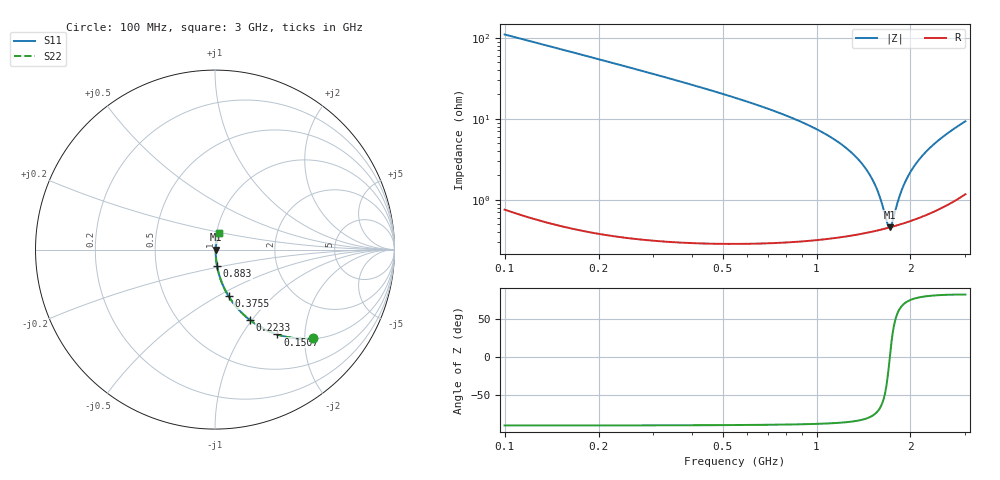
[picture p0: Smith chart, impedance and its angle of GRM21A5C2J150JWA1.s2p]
!Murata Part Number: GRM21A5C2J150JWA1
!These Parameters are Measured in Series Mode Connection
!Data Generated on Mar 30, 2021
!  o--ll--o
!Port1  Port2
!  o------o
!Operation Temp=25[degC], DC Bias Voltage=0[V]
!Freq. Start=100[MHz] Stop=3[GHz] 401[Steps]
# Hz S RI R 50
!Freq.(Hz) S11(Real) S11(Imag) S21(Real) S21(Imag) S12(Real) S12(Imag) S22(Real) S22(Imag)
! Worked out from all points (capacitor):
!   401 points, 100 MHz to 3 GHz, reference 50 ohm
!   read as one part in series: C = 14.4 pF near 114.5 MHz
!   lowest |Z| = 456 mohm at 1.717 GHz (marker M1)
!   series resonance near 1.717 GHz, so ESL is about 600 pH
!   S11 on the Smith chart (normalised r, x): 100 MHz: 1.02, -2.20; 150.8 MHz: 1.01, -1.46; 223.2 MHz: 1.01, -0.97; 375.5 MHz: 1.01, -0.56; 883 MHz: 1.01, -0.19; 3 GHz: 1.02, +0.19
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1e8  0.5478 -0.4943  0.4522 0.4943  0.4522 0.4943  0.5478 -0.4943
1.5075e8  0.3473 -0.4728  0.6527 0.4728  0.6527 0.4728  0.3473 -0.4728
2.2325e8  0.1936 -0.3915  0.8064 0.3915  0.8064 0.3915  0.1936 -0.3915
2.885e8  0.1242 -0.3256  0.8758 0.3256  0.8758 0.3256  0.1242 -0.3256
3.755e8  0.0756 -0.2591  0.9244 0.2591  0.9244 0.2591  0.0756 -0.2591
5.8575e8  0.03 -0.1624  0.97 0.1624  0.97 0.1624  0.03 -0.1624
8.83e8  0.0116 -0.0921  0.9884 0.0921  0.9884 0.0921  0.0116 -0.0921
1.0715e9  0.00735 -0.0637  0.9927 0.0637  0.9927 0.0637  0.00735 -0.0637
1.3615e9  0.00469 -0.031  0.9953 0.031  0.9953 0.031  0.00469 -0.031
1.463e9  0.00439 -0.0214  0.9956 0.0214  0.9956 0.0214  0.00439 -0.0214
1.55e9  0.00431 -0.0137  0.9957 0.0137  0.9957 0.0137  0.00431 -0.0137
1.608e9  0.00434 -0.00883  0.9957 0.00883  0.9957 0.00883  0.00434 -0.00883
1.68775e9  0.00447 -0.00232  0.9955 0.00232  0.9955 0.00232  0.00447 -0.00232
1.71675e9  0.00454 -2.19e-05  0.9955 2.19e-05  0.9955 2.19e-05  0.00454 -2.19e-05
1.74575e9  0.00463 0.00225  0.9954 -0.00225  0.9954 -0.00225  0.00463 0.00225
1.8255e9  0.00493 0.00836  0.9951 -0.00836  0.9951 -0.00836  0.00493 0.00836
1.8835e9  0.0052 0.0127  0.9948 -0.0127  0.9948 -0.0127  0.0052 0.0127
1.956e9  0.0056 0.018  0.9944 -0.018  0.9944 -0.018  0.0056 0.018
2.03575e9  0.00613 0.0237  0.9939 -0.0237  0.9939 -0.0237  0.00613 0.0237
2.23875e9  0.00784 0.0378  0.9922 -0.0378  0.9922 -0.0378  0.00784 0.0378
2.5215e9  0.0112 0.057  0.9888 -0.057  0.9888 -0.057  0.0112 0.057
3e9  0.0198 0.0898  0.9802 -0.0898  0.9802 -0.0898  0.0198 0.0898
